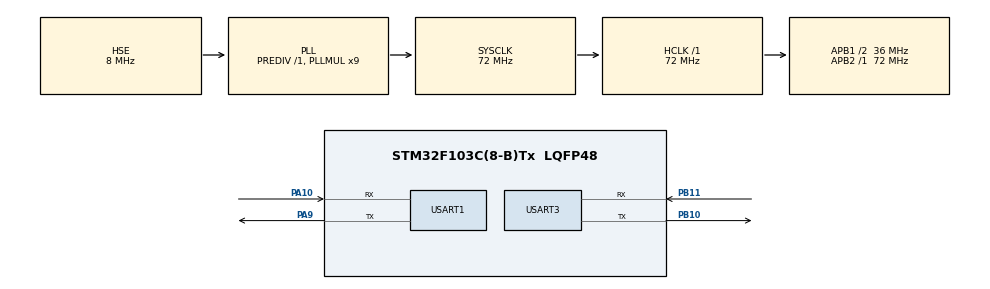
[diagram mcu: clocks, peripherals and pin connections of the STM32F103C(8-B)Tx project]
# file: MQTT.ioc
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FREERTOS.Tasks01=defaultTask,24,128,StartDefaultTask,Default,NULL,Dynamic,NULL,NULL
FREERTOS.configTOTAL_HEAP_SIZE=8000
Mcu.Family=STM32F1
Mcu.Name=STM32F103C(8-B)Tx
Mcu.Package=LQFP48
NVIC.PriorityGroup=NVIC_PRIORITYGROUP_4
NVIC.USART1_IRQn=true\:5\:0\:false\:false\:true\:true\:true\:true\:true
NVIC.USART3_IRQn=true\:5\:0\:false\:false\:true\:true\:true\:true\:true
PA10.Mode=Asynchronous
PA10.Signal=USART1_RX
PA13.Mode=Serial_Wire
PA13.Signal=SYS_JTMS-SWDIO
PA14.Mode=Serial_Wire
PA14.Signal=SYS_JTCK-SWCLK
PA9.Mode=Asynchronous
PA9.Signal=USART1_TX
PB10.Mode=Asynchronous
PB10.Signal=USART3_TX
PB11.Mode=Asynchronous
PB11.Signal=USART3_RX
PC14-OSC32_IN.Mode=LSE-External-Oscillator
PC14-OSC32_IN.Signal=RCC_OSC32_IN
PC15-OSC32_OUT.Mode=LSE-External-Oscillator
PC15-OSC32_OUT.Signal=RCC_OSC32_OUT
PD0-OSC_IN.Mode=HSE-External-Oscillator
PD0-OSC_IN.Signal=RCC_OSC_IN
PD1-OSC_OUT.Mode=HSE-External-Oscillator
PD1-OSC_OUT.Signal=RCC_OSC_OUT
ProjectManager.HeapSize=0x200
ProjectManager.StackSize=0x400
ProjectManager.TargetToolchain=MDK-ARM V5.32
RCC.AHBFreq_Value=72000000
RCC.APB1CLKDivider=RCC_HCLK_DIV2
RCC.APB1Freq_Value=36000000
RCC.APB1TimFreq_Value=72000000
RCC.APB2Freq_Value=72000000
RCC.APB2TimFreq_Value=72000000
RCC.HCLKFreq_Value=72000000
RCC.PLLMUL=RCC_PLL_MUL9
RCC.PLLSourceVirtual=RCC_PLLSOURCE_HSE
RCC.SYSCLKFreq_VALUE=72000000
RCC.SYSCLKSource=RCC_SYSCLKSOURCE_PLLCLK
RCC.USBFreq_Value=72000000
USART1.VirtualMode=VM_ASYNC
USART3.VirtualMode=VM_ASYNC
VP_FREERTOS_VS_CMSIS_V2.Mode=CMSIS_V2
board=custom

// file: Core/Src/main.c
/* USER CODE BEGIN Header */
/**
  ******************************************************************************
  * @file           : main.c
  * @brief          : Main program body
  ******************************************************************************
  * @attention
  *
  * Copyright (c) 2025 STMicroelectronics.
  * All rights reserved.
  *
  * This software is licensed under terms that can be found in the LICENSE file
  * in the root directory of this software component.
  * If no LICENSE file comes with this software, it is provided AS-IS.
  *
  ******************************************************************************
  */
/* USER CODE END Header */
#include "main.h"
#include "cmsis_os.h"
#include "usart.h"
#include "gpio.h"

/* USER CODE BEGIN Includes */
#include "circule_buffer.h"
#include "my_usart.h"
#include "at_commend.h"
#include "stm32f1xx_it.h"
/* USER CODE END Includes */

void SystemClock_Config(void);
void MX_FREERTOS_Init(void);

/* USER CODE BEGIN 0 */
ring_buffer test_buffer;
/* USER CODE END 0 */

int main(void)
{

  /* MCU Configuration--------------------------------------------------------*/

  /* Reset of all peripherals, Initializes the Flash interface and the Systick. */
  HAL_Init();

  /* Configure the system clock */
  SystemClock_Config();

  /* Initialize all configured peripherals */
  MX_GPIO_Init();
  MX_USART1_UART_Init();
  MX_USART3_UART_Init();
  /* USER CODE BEGIN 2 */
  ring_buffer_init(&test_buffer);
	UartLockInit();
	ATInit();
	USART3_IRQEnable();

	printf(" __________________________________________\r\n");
	printf("|                                          |\r\n");
	printf("|               MQTT Program               |\r\n");
	printf("|              Author:Minerva              |\r\n");
	printf("|          Finish Time:2025/09/30          |\r\n");
	printf("|__________________________________________|\r\n");
  /* USER CODE END 2 */

  /* Init scheduler */
  osKernelInitialize();  /* Call init function for freertos objects (in cmsis_os2.c) */
  MX_FREERTOS_Init();

  /* Start scheduler */
  osKernelStart();

  /* We should never get here as control is now taken by the scheduler */

  /* Infinite loop */
  /* USER CODE BEGIN WHILE */
//	USART3_Transmit("AT+CIFSR\r\n", sizeof("AT+CIFSR\r\n"));
  while (1)
  {
    /* USER CODE END WHILE */

  }
}

void SystemClock_Config(void)
{
  RCC_OscInitTypeDef RCC_OscInitStruct = {0};
  RCC_ClkInitTypeDef RCC_ClkInitStruct = {0};

  /** Initializes the RCC Oscillators according to the specified parameters
  * in the RCC_OscInitTypeDef structure.
  */
  RCC_OscInitStruct.OscillatorType = RCC_OSCILLATORTYPE_HSE;
  RCC_OscInitStruct.HSEState = RCC_HSE_ON;
  RCC_OscInitStruct.HSEPredivValue = RCC_HSE_PREDIV_DIV1;
  RCC_OscInitStruct.HSIState = RCC_HSI_ON;
  RCC_OscInitStruct.PLL.PLLState = RCC_PLL_ON;
  RCC_OscInitStruct.PLL.PLLSource = RCC_PLLSOURCE_HSE;
  RCC_OscInitStruct.PLL.PLLMUL = RCC_PLL_MUL9;
  if (HAL_RCC_OscConfig(&RCC_OscInitStruct) != HAL_OK)
  {
    Error_Handler();
  }

  /** Initializes the CPU, AHB and APB buses clocks
  */
  RCC_ClkInitStruct.ClockType = RCC_CLOCKTYPE_HCLK|RCC_CLOCKTYPE_SYSCLK
                              |RCC_CLOCKTYPE_PCLK1|RCC_CLOCKTYPE_PCLK2;
  RCC_ClkInitStruct.SYSCLKSource = RCC_SYSCLKSOURCE_PLLCLK;
  RCC_ClkInitStruct.AHBCLKDivider = RCC_SYSCLK_DIV1;
  RCC_ClkInitStruct.APB1CLKDivider = RCC_HCLK_DIV2;
  RCC_ClkInitStruct.APB2CLKDivider = RCC_HCLK_DIV1;

  if (HAL_RCC_ClockConfig(&RCC_ClkInitStruct, FLASH_LATENCY_2) != HAL_OK)
  {
    Error_Handler();
  }
}

void Error_Handler(void)
{
  __disable_irq();
  while (1)
  {
  }
}

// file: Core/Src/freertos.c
/* USER CODE BEGIN Header */
/**
  ******************************************************************************
  * File Name          : freertos.c
  * Description        : Code for freertos applications
  ******************************************************************************
  * @attention
  *
  * Copyright (c) 2025 STMicroelectronics.
  * All rights reserved.
  *
  * This software is licensed under terms that can be found in the LICENSE file
  * in the root directory of this software component.
  * If no LICENSE file comes with this software, it is provided AS-IS.
  *
  ******************************************************************************
  */
/* USER CODE END Header */

#include "FreeRTOS.h"
#include "task.h"
#include "main.h"
#include "cmsis_os.h"

/* USER CODE BEGIN Includes */
#include "at_commend.h"
/* USER CODE END Includes */

/* Definitions for defaultTask */
osThreadId_t defaultTaskHandle;
const osThreadAttr_t defaultTask_attributes = {
  .name = "defaultTask",
  .stack_size = 128 * 4,
  .priority = (osPriority_t) osPriorityNormal,
};

void StartDefaultTask(void *argument);

void MX_FREERTOS_Init(void); /* (MISRA C 2004 rule 8.1) */

void MX_FREERTOS_Init(void) {

  /* Create the thread(s) */
  /* creation of defaultTask */
  defaultTaskHandle = osThreadNew(StartDefaultTask, NULL, &defaultTask_attributes);

  /* USER CODE BEGIN RTOS_THREADS */
  /* add threads, ... */
  osThreadNew(ATReceParse, NULL, &defaultTask_attributes);
  osThreadNew(Task_test, NULL, &defaultTask_attributes);

  /* USER CODE END RTOS_THREADS */

}

void StartDefaultTask(void *argument)
{
  for(;;)
  {
    osDelay(1);
  }
}
